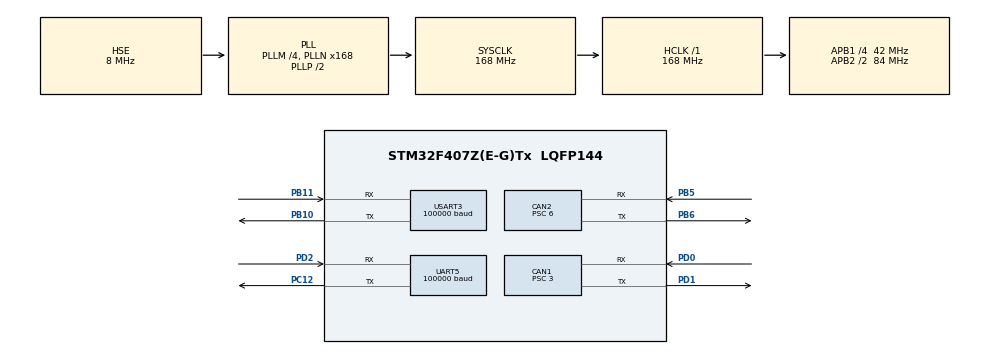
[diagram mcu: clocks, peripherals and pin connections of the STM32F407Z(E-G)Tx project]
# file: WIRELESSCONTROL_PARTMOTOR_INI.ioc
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CAN1.ABOM=ENABLE
CAN1.AWUM=ENABLE
CAN1.BS1=CAN_BS1_9TQ
CAN1.BS2=CAN_BS2_4TQ
CAN1.CalculateBaudRate=1000000
CAN1.CalculateTimeBit=1000
CAN1.CalculateTimeQuantum=71.42857142857143
CAN1.NART=ENABLE
CAN1.Prescaler=3
CAN1.TXFP=ENABLE
CAN2.ABOM=ENABLE
CAN2.AWUM=ENABLE
CAN2.BS1=CAN_BS1_4TQ
CAN2.BS2=CAN_BS2_2TQ
CAN2.CalculateBaudRate=1000000
CAN2.CalculateTimeBit=1000
CAN2.CalculateTimeQuantum=142.85714285714286
CAN2.NART=ENABLE
CAN2.Prescaler=6
CAN2.TXFP=ENABLE
Dma.Request0=UART5_RX
Dma.UART5_RX.0.Direction=DMA_PERIPH_TO_MEMORY
Dma.UART5_RX.0.FIFOMode=DMA_FIFOMODE_DISABLE
Dma.UART5_RX.0.Instance=DMA1_Stream0
Dma.UART5_RX.0.MemDataAlignment=DMA_MDATAALIGN_BYTE
Dma.UART5_RX.0.MemInc=DMA_MINC_ENABLE
Dma.UART5_RX.0.Mode=DMA_NORMAL
Dma.UART5_RX.0.PeriphDataAlignment=DMA_PDATAALIGN_BYTE
Dma.UART5_RX.0.PeriphInc=DMA_PINC_DISABLE
Dma.UART5_RX.0.Priority=DMA_PRIORITY_VERY_HIGH
FREERTOS.Tasks01=defaultTask,24,128,StartDefaultTask,Default,NULL,Dynamic,NULL,NULL;myTask02,8,128,StartTask02,Default,NULL,Dynamic,NULL,NULL;MatlabFuction,40,256,StartTask03,Default,NULL,Static,MatlabFuctionBuffer,MatlabFuctionControlBlock;myTask04,48,128,StartTask04,Default,NULL,Dynamic,NULL,NULL
Mcu.Family=STM32F4
Mcu.Name=STM32F407Z(E-G)Tx
Mcu.Package=LQFP144
NVIC.CAN1_RX0_IRQn=true\:5\:0\:false\:false\:true\:true\:true\:true\:true
NVIC.CAN1_TX_IRQn=true\:5\:0\:false\:false\:true\:true\:true\:true\:true
NVIC.CAN2_RX0_IRQn=true\:5\:0\:false\:false\:true\:true\:true\:true\:true
NVIC.CAN2_TX_IRQn=true\:5\:0\:false\:false\:true\:true\:true\:true\:true
NVIC.DMA1_Stream0_IRQn=true\:5\:0\:false\:false\:true\:true\:false\:true\:true
NVIC.PriorityGroup=NVIC_PRIORITYGROUP_4
NVIC.TIM7_IRQn=true\:15\:0\:false\:false\:true\:false\:false\:true\:true
NVIC.TimeBase=TIM7_IRQn
NVIC.TimeBaseIP=TIM7
NVIC.UART5_IRQn=true\:5\:0\:false\:false\:true\:true\:true\:true\:true
NVIC.USART3_IRQn=true\:5\:0\:false\:false\:true\:true\:true\:true\:true
PA13.Mode=Serial_Wire
PA13.Signal=SYS_JTMS-SWDIO
PA14.Mode=Serial_Wire
PA14.Signal=SYS_JTCK-SWCLK
PB10.Mode=Asynchronous
PB10.Signal=USART3_TX
PB11.Mode=Asynchronous
PB11.Signal=USART3_RX
PB5.Mode=CAN_Activate
PB5.Signal=CAN2_RX
PB6.Mode=CAN_Activate
PB6.Signal=CAN2_TX
PC12.Mode=Asynchronous
PC12.Signal=UART5_TX
PD0.GPIO_Speed=GPIO_SPEED_FREQ_HIGH
PD0.Mode=CAN_Activate
PD0.Signal=CAN1_RX
PD1.GPIO_Speed=GPIO_SPEED_FREQ_HIGH
PD1.Mode=CAN_Activate
PD1.Signal=CAN1_TX
PD2.Mode=Asynchronous
PD2.Signal=UART5_RX
PH0-OSC_IN.Mode=HSE-External-Oscillator
PH0-OSC_IN.Signal=RCC_OSC_IN
PH1-OSC_OUT.Mode=HSE-External-Oscillator
PH1-OSC_OUT.Signal=RCC_OSC_OUT
ProjectManager.HeapSize=0x200
ProjectManager.StackSize=0x400
ProjectManager.TargetToolchain=MDK-ARM V5.32
RCC.48MHZClocksFreq_Value=84000000
RCC.AHBFreq_Value=168000000
RCC.APB1CLKDivider=RCC_HCLK_DIV4
RCC.APB1Freq_Value=42000000
RCC.APB1TimFreq_Value=84000000
RCC.APB2CLKDivider=RCC_HCLK_DIV2
RCC.APB2Freq_Value=84000000
RCC.APB2TimFreq_Value=168000000
RCC.CortexFreq_Value=168000000
RCC.HCLKFreq_Value=168000000
RCC.HSE_VALUE=8000000
RCC.HSI_VALUE=16000000
RCC.LSE_VALUE=32768
RCC.PLLM=4
RCC.PLLN=168
RCC.PLLSourceVirtual=RCC_PLLSOURCE_HSE
RCC.SYSCLKFreq_VALUE=168000000
RCC.SYSCLKSource=RCC_SYSCLKSOURCE_PLLCLK
RCC.VCOOutputFreq_Value=336000000
UART5.BaudRate=100000
UART5.Mode=MODE_RX
UART5.Parity=PARITY_EVEN
UART5.StopBits=UART_STOPBITS_2
UART5.VirtualMode=Asynchronous
UART5.WordLength=WORDLENGTH_9B
USART3.BaudRate=100000
USART3.Mode=MODE_RX
USART3.Parity=PARITY_EVEN
USART3.StopBits=STOPBITS_2
USART3.VirtualMode=VM_ASYNC
VP_FREERTOS_VS_CMSIS_V2.Mode=CMSIS_V2
VP_SYS_VS_tim7.Mode=TIM7
board=custom

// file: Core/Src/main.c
/* USER CODE BEGIN Header */
/**
  ******************************************************************************
  * @file           : main.c
  * @brief          : Main program body
  ******************************************************************************
  * @attention
  *
  * Copyright (c) 2024 STMicroelectronics.
  * All rights reserved.
  *
  * This software is licensed under terms that can be found in the LICENSE file
  * in the root directory of this software component.
  * If no LICENSE file comes with this software, it is provided AS-IS.
  *
  ******************************************************************************
  */
/* USER CODE END Header */
#include "main.h"
#include "cmsis_os.h"
#include "can.h"
#include "dma.h"
#include "usart.h"
#include "gpio.h"

/* USER CODE BEGIN Includes */
#include "sbus.h"
extern SBUS_CH_Struct SBUS_CH;

#include "HT03.h"

extern MotorData motor_data[8];
extern uint8_t motor_state;

#include "IMPULSE.h"
extern PULSE PULSE_data[4];

float CH3,CH1,CH2;
float CH3_gain = 1, LTH_gain = 1;

#include "CONTROLLER0.h"

int stauts = 0;

int j = 0;

/* USER CODE END Includes */

/* USER CODE BEGIN PV */
uint8_t rcv_buf[64] = {0};
int rcv_flag = 0;

/* USER CODE END PV */

void SystemClock_Config(void);
void MX_FREERTOS_Init(void);

int main(void)
{

  /* MCU Configuration--------------------------------------------------------*/

  /* Reset of all peripherals, Initializes the Flash interface and the Systick. */
  HAL_Init();

  /* Configure the system clock */
  SystemClock_Config();

  /* Initialize all configured peripherals */
  MX_GPIO_Init();
  MX_DMA_Init();
  MX_CAN1_Init();
  MX_USART3_UART_Init();
  MX_CAN2_Init();
  MX_UART5_Init();
  /* USER CODE BEGIN 2 */

	__HAL_UART_ENABLE_IT(&huart5, UART_IT_IDLE);
	HAL_UART_Receive_DMA(&huart5, rcv_buf, 25);

  can_filter_init();

	//PULSE_INIT(8,4,2,1,2,2,0,0,0,0,2,2);
	PULSE_INIT(8,4,2,1,2,2,0,0,0,0,2,2);
	//void PULSE_INIT(int X_N,int Y_N,int X_MAX, int Y_MAX,float sx_RF, float sy_RF,float sx_RB,
	//float sy_RB,float sx_LF, float sy_LF,float sx_LB, float sy_LB);
	//HAL_TIM_Base_Start_IT(&htim14);

  CanMOTOR_Init();
	CONTROLLER0_initialize();
	rtU.R_LENGTH = 0;
	rtU.L_LENGTH = 0;

	// 200 - 1800 x     800 - 1100   CH2
	//  56 - 1656 y mid 700- 900 CH1

//	HAL_TIM_Base_Start_IT(&htim6);

  /* USER CODE END 2 */

  /* Init scheduler */
  osKernelInitialize();  /* Call init function for freertos objects (in freertos.c) */
  MX_FREERTOS_Init();

  /* Start scheduler */
  osKernelStart();
  /* We should never get here as control is now taken by the scheduler */
  /* Infinite loop */
  while (1)
  {

  }
}

void SystemClock_Config(void)
{
  RCC_OscInitTypeDef RCC_OscInitStruct = {0};
  RCC_ClkInitTypeDef RCC_ClkInitStruct = {0};

  /** Configure the main internal regulator output voltage
  */
  __HAL_RCC_PWR_CLK_ENABLE();
  __HAL_PWR_VOLTAGESCALING_CONFIG(PWR_REGULATOR_VOLTAGE_SCALE1);

  /** Initializes the RCC Oscillators according to the specified parameters
  * in the RCC_OscInitTypeDef structure.
  */
  RCC_OscInitStruct.OscillatorType = RCC_OSCILLATORTYPE_HSE;
  RCC_OscInitStruct.HSEState = RCC_HSE_ON;
  RCC_OscInitStruct.PLL.PLLState = RCC_PLL_ON;
  RCC_OscInitStruct.PLL.PLLSource = RCC_PLLSOURCE_HSE;
  RCC_OscInitStruct.PLL.PLLM = 4;
  RCC_OscInitStruct.PLL.PLLN = 168;
  RCC_OscInitStruct.PLL.PLLP = RCC_PLLP_DIV2;
  RCC_OscInitStruct.PLL.PLLQ = 4;
  if (HAL_RCC_OscConfig(&RCC_OscInitStruct) != HAL_OK)
  {
    Error_Handler();
  }

  /** Initializes the CPU, AHB and APB buses clocks
  */
  RCC_ClkInitStruct.ClockType = RCC_CLOCKTYPE_HCLK|RCC_CLOCKTYPE_SYSCLK
                              |RCC_CLOCKTYPE_PCLK1|RCC_CLOCKTYPE_PCLK2;
  RCC_ClkInitStruct.SYSCLKSource = RCC_SYSCLKSOURCE_PLLCLK;
  RCC_ClkInitStruct.AHBCLKDivider = RCC_SYSCLK_DIV1;
  RCC_ClkInitStruct.APB1CLKDivider = RCC_HCLK_DIV4;
  RCC_ClkInitStruct.APB2CLKDivider = RCC_HCLK_DIV2;

  if (HAL_RCC_ClockConfig(&RCC_ClkInitStruct, FLASH_LATENCY_5) != HAL_OK)
  {
    Error_Handler();
  }
}

/* USER CODE BEGIN 4 */

void Rcv_IdleCallback(void){
	/* 判断空闲中断发生 */
	if(__HAL_UART_GET_FLAG(&huart5, UART_FLAG_IDLE) == SET){
		/* 清除空闲中断标志位，暂停串口DMA传输 */
		__HAL_UART_CLEAR_IDLEFLAG(&huart5);
		HAL_UART_DMAStop(&huart5);
		/* 接收完成标志位 */
		rcv_flag = 1;
	}
	Rcv_DealData();
}

int Rcv_DealData(void){
	if(1==rcv_flag){
		/* 数据处理 */
		if(rcv_buf[0] == 0x0F && rcv_buf[24] == 0x00){
			update_sbus(rcv_buf);
		}
		for(int i=0;i<25;i++){
			rcv_buf[i]=0;
		}
		/* 恢复标志位 */
		rcv_flag = 0;
		/* 再次发起下一次的串口DMA接收 */
		HAL_UART_Receive_DMA(&huart5, rcv_buf, 25);
		return 0;
	}else{
		return -1;
	}
}

/* USER CODE END 4 */

void HAL_TIM_PeriodElapsedCallback(TIM_HandleTypeDef *htim)
{
  if (htim->Instance == TIM7) {
    HAL_IncTick();
  }
}

void Error_Handler(void)
{
  __disable_irq();
  while (1)
  {
  }
}

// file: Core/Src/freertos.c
/* USER CODE BEGIN Header */
/**
  ******************************************************************************
  * File Name          : freertos.c
  * Description        : Code for freertos applications
  ******************************************************************************
  * @attention
  *
  * Copyright (c) 2024 STMicroelectronics.
  * All rights reserved.
  *
  * This software is licensed under terms that can be found in the LICENSE file
  * in the root directory of this software component.
  * If no LICENSE file comes with this software, it is provided AS-IS.
  *
  ******************************************************************************
  */
/* USER CODE END Header */

#include "FreeRTOS.h"
#include "task.h"
#include "main.h"
#include "cmsis_os.h"

/* USER CODE BEGIN Includes */
#include "CONTROLLER0.h"
#include "can.h"
#include "sbus.h"

extern SBUS_CH_Struct SBUS_CH;

#include "HT03.h"

extern MotorData motor_data[8];
extern uint8_t motor_state;

#include "IMPULSE.h"

extern PULSE PULSE_data[4];

extern int stauts ;

extern float CH3,CH2,CH1;
extern float CH3_gain, LTH_gain;

int update = 10;
/* USER CODE END Includes */

typedef StaticTask_t osStaticThreadDef_t;

/* Definitions for defaultTask */
osThreadId_t defaultTaskHandle;
const osThreadAttr_t defaultTask_attributes = {
  .name = "defaultTask",
  .stack_size = 128 * 4,
  .priority = (osPriority_t) osPriorityNormal,
};
/* Definitions for myTask02 */
osThreadId_t myTask02Handle;
const osThreadAttr_t myTask02_attributes = {
  .name = "myTask02",
  .stack_size = 128 * 4,
  .priority = (osPriority_t) osPriorityLow,
};
/* Definitions for MatlabFuction */
osThreadId_t MatlabFuctionHandle;
uint32_t MatlabFuctionBuffer[ 256 ];
osStaticThreadDef_t MatlabFuctionControlBlock;
const osThreadAttr_t MatlabFuction_attributes = {
  .name = "MatlabFuction",
  .cb_mem = &MatlabFuctionControlBlock,
  .cb_size = sizeof(MatlabFuctionControlBlock),
  .stack_mem = &MatlabFuctionBuffer[0],
  .stack_size = sizeof(MatlabFuctionBuffer),
  .priority = (osPriority_t) osPriorityHigh,
};
/* Definitions for myTask04 */
osThreadId_t myTask04Handle;
const osThreadAttr_t myTask04_attributes = {
  .name = "myTask04",
  .stack_size = 128 * 4,
  .priority = (osPriority_t) osPriorityRealtime,
};

void StartDefaultTask(void *argument);
void StartTask02(void *argument);
void StartTask03(void *argument);
void StartTask04(void *argument);

void MX_FREERTOS_Init(void); /* (MISRA C 2004 rule 8.1) */

void MX_FREERTOS_Init(void) {

  /* Create the thread(s) */
  /* creation of defaultTask */
  defaultTaskHandle = osThreadNew(StartDefaultTask, NULL, &defaultTask_attributes);

  /* creation of myTask02 */
  myTask02Handle = osThreadNew(StartTask02, NULL, &myTask02_attributes);

  /* creation of MatlabFuction */
  MatlabFuctionHandle = osThreadNew(StartTask03, NULL, &MatlabFuction_attributes);

  /* creation of myTask04 */
  myTask04Handle = osThreadNew(StartTask04, NULL, &myTask04_attributes);

}

void StartDefaultTask(void *argument)
{
  /* USER CODE BEGIN StartDefaultTask */
  /* Infinite loop */
  for(;;)
  {
    osDelay(10);
  }
  /* USER CODE END StartDefaultTask */
}

void StartTask02(void *argument)
{
  /* USER CODE BEGIN StartTask02 */
  /* Infinite loop */
  for(;;)
  {

	 if(stauts ==1){
		// CanComm_ControlCmd(CMD_MOTOR_MODE,0x07,hcan1);
			CanComm_SendControlPara(rtY.RF_theta_in,0,7.5,0.2,0,0x07,hcan2);
			osDelay(1);
	//	 CanComm_ControlCmd(CMD_MOTOR_MODE,0x05,hcan1);
			CanComm_SendControlPara(rtY.RF_theta_out,0,7.5,0.2,0,0x05,hcan2);
			osDelay(1);
		// CanComm_ControlCmd(CMD_MOTOR_MODE,0x06,hcan1);
			CanComm_SendControlPara(rtY.RB_theta_in,0,7.5,0.2,0,0x06,hcan2);
			osDelay(1);
	//	 CanComm_ControlCmd(CMD_MOTOR_MODE,0x04,hcan1);
			CanComm_SendControlPara(rtY.RB_theta_out,0,7.5,0.2,0,0x04,hcan1);
			osDelay(1);
	//	 CanComm_ControlCmd(CMD_MOTOR_MODE,0x01,hcan1);
			CanComm_SendControlPara(rtY.LB_theta_in,0,7.5,0.2,0,0x01,hcan1);
			 osDelay(1);
	//	 CanComm_ControlCmd(CMD_MOTOR_MODE,0x02,hcan1);
			CanComm_SendControlPara(rtY.LB_theta_out,0,7.5,0.2,0,0x02,hcan1);
			 osDelay(1);
	//	 CanComm_ControlCmd(CMD_MOTOR_MODE,0x08,hcan1);
			CanComm_SendControlPara(rtY.LF_theta_in,0,7.5,0.2,0,0x08,hcan2);
			osDelay(1);
	//		CanComm_ControlCmd(CMD_MOTOR_MODE,0x03,hcan1);
			CanComm_SendControlPara(rtY.LF_theta_out,0,7.5,0.2,0,0x03,hcan1);
			osDelay(1);
	 }
	 if( update == 10){
		update = 0;
		CanMotorUpdate_NULL();
	 }else{
		update ++ ;
	 }

    osDelay(10);
  }
  /* USER CODE END StartTask02 */
}

void StartTask03(void *argument)
{
  /* USER CODE BEGIN StartTask03 */
  /* Infinite loop */
  for(;;)
  {
		CONTROLLER0_step();
    rtU.RF_X = PULSE_data[RF].TIME_X_value;
    rtU.RF_Y = PULSE_data[RF].TIME_Y_value;

    rtU.RB_X = PULSE_data[RB].TIME_X_value;
    rtU.RB_Y = PULSE_data[RB].TIME_Y_value;

    rtU.LF_X = PULSE_data[LF].TIME_X_value;
    rtU.LF_Y = PULSE_data[LF].TIME_Y_value;

    rtU.LB_X = PULSE_data[LB].TIME_X_value;
    rtU.LB_Y = PULSE_data[LB].TIME_Y_value;

		stauts = 1;
    osDelay(10);
  }
  /* USER CODE END StartTask03 */
}

void StartTask04(void *argument)
{
  /* USER CODE BEGIN StartTask04 */
  /* Infinite loop */
  for(;;)
  {
//     CH3 = map(-0.020,0.020,200,1300,SBUS_CH.CH3);
//		 if(CH3>0.01){
//			CH3 = 0.01;
//		 }else if(CH3 <-0.01){
//			 CH3 = -0.01;
//		 }

//		if(SBUS_CH.CH3 >1400){
//      CH3 = 0.01*CH3_gain;
//    }
//    else if(SBUS_CH.CH3 <300){
//      CH3 = -0.01*CH3_gain;
//    }
//    else{
//      CH3 = 0;
//    }

		if(200==SBUS_CH.CH5){
			rtU.RF_HIGHT = 30;
			rtU.RB_HIGHT = 30;
			rtU.LF_HIGHT = 30;
			rtU.LB_HIGHT = 30;
		}else if(1000==SBUS_CH.CH5){
			rtU.RF_HIGHT = 40;
			rtU.RB_HIGHT = 40;
			rtU.LF_HIGHT = 40;
			rtU.LB_HIGHT = 40;
		}else if(1800==SBUS_CH.CH5){
			rtU.RF_HIGHT = 50;
			rtU.RB_HIGHT = 50;
			rtU.LF_HIGHT = 50;
			rtU.LB_HIGHT = 50;
		}else{
			rtU.RF_HIGHT = 20;
			rtU.RB_HIGHT = 20;
			rtU.LF_HIGHT = 20;
			rtU.LB_HIGHT = 20;
		}

		if(200==SBUS_CH.CH6){
			CH3_gain = 0;
		}else if(1000==SBUS_CH.CH6){
			CH3_gain = 1.2;
		}else if(1800==SBUS_CH.CH6){
			CH3_gain = 1.4;
		}else{
			CH3_gain = 1;
		}

		//CH3_gain = 1.2;

		LTH_gain = 1 + (SBUS_CH.CH3 / 100)*0.1;

		if(SBUS_CH.CH1 >= 1100){
			CH3_gain = 1.2;
			rtU.RF_HIGHT = 50;
			rtU.RB_HIGHT = 50;
			rtU.LF_HIGHT = 50;
			rtU.LB_HIGHT = 50;
//      rtU.L_LENGTH = -120*LTH_gain;
//			rtU.R_LENGTH = 120*LTH_gain;
			rtU.L_LENGTH = -100*LTH_gain;
			rtU.R_LENGTH = 100*LTH_gain;
    }
    else if(SBUS_CH.CH1 <= 600){
			CH3_gain = 1.2;
			rtU.RF_HIGHT = 50;
			rtU.RB_HIGHT = 50;
			rtU.LF_HIGHT = 50;
			rtU.LB_HIGHT = 50;
//      rtU.L_LENGTH = 120*LTH_gain;
//			rtU.R_LENGTH = -120*LTH_gain;
			rtU.L_LENGTH = 100*LTH_gain;
			rtU.R_LENGTH = -100*LTH_gain;
    }
		else if(SBUS_CH.CH2 >= 1200){
			rtU.L_LENGTH = 100*LTH_gain;
			rtU.R_LENGTH = 100*LTH_gain;
		}
    else if(SBUS_CH.CH2 <= 700){
			rtU.L_LENGTH = -100*LTH_gain;
			rtU.R_LENGTH = -100*LTH_gain;
    }

		if(SBUS_CH.CH1> 600  &&  SBUS_CH.CH1 < 1100 && SBUS_CH.CH2 > 700 && SBUS_CH.CH2 <1200){
			rtU.L_LENGTH = 0;
			rtU.R_LENGTH = 0;
		}

//		if(200==SBUS_CH.CH6){//��Ծ����
//			PULSE_data[RF].TIME_X = 2;
//			PULSE_data[RF].TIME_Y = 2;
//			PULSE_data[RB].TIME_X = 0;
//			PULSE_data[RB].TIME_Y = 0;
//			PULSE_data[LF].TIME_X = 0;
//			PULSE_data[LF].TIME_Y = 0;
//			PULSE_data[LB].TIME_X = 0;
//			PULSE_data[LB].TIME_X = 2;
//			PULSE_data[LB].TIME_Y = 2;
//		}else if(1000==SBUS_CH.CH6){
//			CH3_gain = 0;
//			rtU.RF_HIGHT = 90;
//			rtU.RB_HIGHT = 90;
//			rtU.LF_HIGHT = 90;
//			rtU.LB_HIGHT = 90;
//			rtU.L_LENGTH = 0;
//			rtU.R_LENGTH = 0;
//			PULSE_data[RF].TIME_X = 0;
//			PULSE_data[RF].TIME_Y = 1;
//			PULSE_data[RB].TIME_X = 0;
//			PULSE_data[RB].TIME_Y = 1;
//			PULSE_data[LF].TIME_X = 0;
//			PULSE_data[LF].TIME_Y = 1;
//			PULSE_data[LB].TIME_X = 0;
//			PULSE_data[LB].TIME_Y = 1;
//		}else if(1800==SBUS_CH.CH6){
//			rtU.RF_HIGHT = 0;
//			rtU.RB_HIGHT = 0;
//			rtU.LF_HIGHT = 0;
//			rtU.LB_HIGHT = 0;
//			PULSE_data[RF].TIME_Y = 2;
//			PULSE_data[RB].TIME_Y = 2;
//			PULSE_data[LF].TIME_Y = 2;
//			PULSE_data[LB].TIME_Y = 2;
//		}else{
//			CH3_gain = 0;
//		}

		CH3 = 0.01 * CH3_gain;

		PULSE_UPDATE(CH3);
    osDelay(1);
  }
  /* USER CODE END StartTask04 */
}
